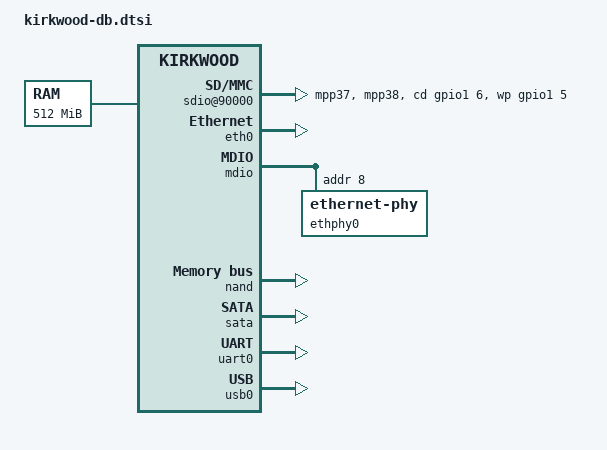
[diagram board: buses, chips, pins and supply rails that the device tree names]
/*
 * Marvell DB-{88F6281,88F6282}-BP Development Board Setup
 *
 * Saeed Bishara <saeed@marvell.com>
 * Thomas Petazzoni <thomas.petazzoni@free-electrons.com>
 *
 * This file is licensed under the terms of the GNU General Public
 * License version 2.  This program is licensed "as is" without any
 * warranty of any kind, whether express or implied.
 *
 * This file contains the definitions that are common between the 6281
 * and 6282 variants of the Marvell Kirkwood Development Board.
 */

#include "kirkwood.dtsi"

/ {
	memory {
		device_type = "memory";
		reg = <0x00000000 0x20000000>; /* 512 MB */
	};

	chosen {
		bootargs = "console=ttyS0,115200n8 earlyprintk";
	};

	ocp@f1000000 {
		sdio@90000 {
			pinctrl-0 = <&pmx_sdio_gpios>;
			pinctrl-names = "default";
			wp-gpios = <&gpio1 5 GPIO_ACTIVE_HIGH>;
			cd-gpios = <&gpio1 6 GPIO_ACTIVE_HIGH>;
			status = "okay";
		};
	};
};

&eth0 {
	status = "okay";
	ethernet-port@0 {
		phy-handle = <&ethphy0>;
	};
};

&mdio {
	status = "okay";

	ethphy0: ethernet-phy@8 {
		reg = <8>;
	};
};

&nand {
	pinctrl-0 = <&pmx_nand>;
	pinctrl-names = "default";
	chip-delay = <25>;
	status = "okay";

	partition@0 {
		label = "uboot";
		reg = <0x0 0x100000>;
	};

	partition@100000 {
		label = "uImage";
		reg = <0x100000 0x400000>;
	};

	partition@500000 {
		label = "root";
		reg = <0x500000 0x1fb00000>;
	};
};

&pinctrl {
	pmx_sdio_gpios: pmx-sdio-gpios {
		marvell,pins = "mpp37", "mpp38";
		marvell,function = "gpio";
	};
};

&sata {
	nr-ports = <2>;
	status = "okay";
};

&uart0 {
	status = "ok";
};

&usb0 {
	status = "okay";
};
